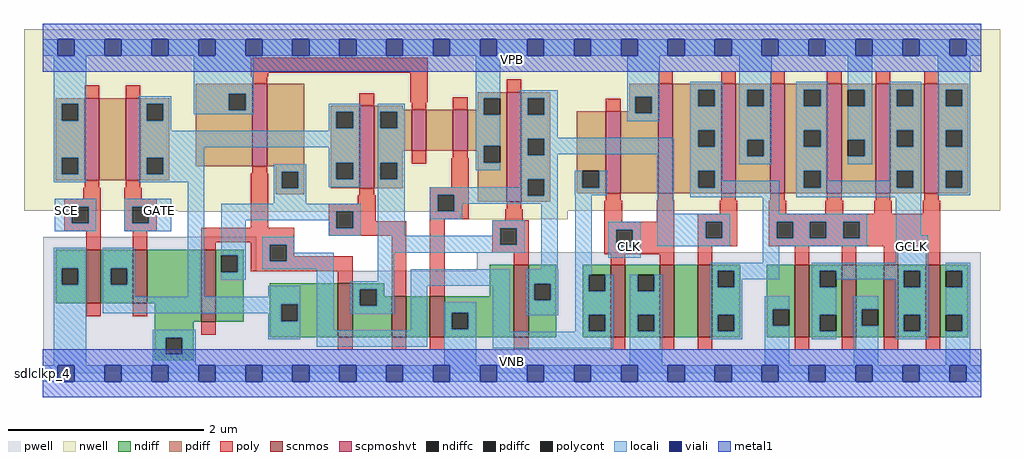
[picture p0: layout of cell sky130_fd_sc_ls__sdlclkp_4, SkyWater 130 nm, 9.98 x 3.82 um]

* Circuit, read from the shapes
.subckt sky130_fd_sc_ls__sdlclkp_4 CLK GATE SCE VGND VNB VPB VPWR GCLK
XM1 n1 SCE VGND VNB sky130_fd_pr__nfet_01v8 w=0.55 l=0.15
XM2 VGND GATE n1 VNB sky130_fd_pr__nfet_01v8 w=0.55 l=0.15
XM3 n2 n3 VGND VNB sky130_fd_pr__nfet_01v8 w=0.74 l=0.15
XM4 n4 n3 n1 VNB sky130_fd_pr__nfet_01v8 w=0.55 l=0.15
XM5 n5 n2 n4 VNB sky130_fd_pr__nfet_01v8 w=0.42 l=0.15
XM6 VGND n6 n5 VNB sky130_fd_pr__nfet_01v8 w=0.42 l=0.15
XM7 n6 n4 VGND VNB sky130_fd_pr__nfet_01v8 w=0.74 l=0.15
XM8 VGND CLK n3 VNB sky130_fd_pr__nfet_01v8 w=0.74 l=0.15
XM9 n7 CLK VGND VNB sky130_fd_pr__nfet_01v8 w=0.74 l=0.15
XM10 n8 n6 n7 VNB sky130_fd_pr__nfet_01v8 w=0.74 l=0.15
XM11 GCLK n8 VGND VNB sky130_fd_pr__nfet_01v8 w=0.74 l=0.15 m=4
XM12 n9 SCE VPWR VPB sky130_fd_pr__pfet_01v8_hvt w=0.84 l=0.15
XM13 n1 GATE n9 VPB sky130_fd_pr__pfet_01v8_hvt w=0.84 l=0.15
XM14 n2 n3 VPWR VPB sky130_fd_pr__pfet_01v8_hvt w=0.84 l=0.15
XM15 n4 n2 n1 VPB sky130_fd_pr__pfet_01v8_hvt w=0.84 l=0.15
XM16 n10 n3 n4 VPB sky130_fd_pr__pfet_01v8_hvt w=0.42 l=0.15
XM17 VPWR n6 n10 VPB sky130_fd_pr__pfet_01v8_hvt w=0.42 l=0.15
XM18 n6 n4 VPWR VPB sky130_fd_pr__pfet_01v8_hvt w=1.12 l=0.15
XM19 VPWR CLK n3 VPB sky130_fd_pr__pfet_01v8_hvt w=0.84 l=0.15
XM20 n8 CLK VPWR VPB sky130_fd_pr__pfet_01v8_hvt w=1.12 l=0.15
XM21 VPWR n6 n8 VPB sky130_fd_pr__pfet_01v8_hvt w=1.12 l=0.15
XM22 GCLK n8 VPWR VPB sky130_fd_pr__pfet_01v8_hvt w=1.12 l=0.15 m=4
.ends

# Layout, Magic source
magic
tech sky130A
magscale 1 2
<< nwell >>
rect -38 332 1958 704
rect 277 330 1074 332
rect 854 315 1074 330
<< pwell >>
rect 1 210 437 279
rect 888 210 1919 248
rect 1 49 1919 210
rect 0 0 1920 49
<< scnmos >>
rect 89 143 119 253
rect 184 143 214 253
rect 324 105 354 253
rect 604 74 634 184
rect 714 74 744 158
rect 792 74 822 158
rect 964 74 994 222
rect 1162 74 1192 222
rect 1262 74 1292 222
rect 1340 74 1370 222
rect 1538 74 1568 222
rect 1634 74 1664 222
rect 1720 74 1750 222
rect 1806 74 1836 222
<< scpmoshvt >>
rect 86 395 116 563
rect 170 395 200 563
rect 429 424 459 592
rect 648 379 678 547
rect 755 455 785 539
rect 839 455 869 539
rect 949 351 979 575
rect 1152 368 1182 536
rect 1259 368 1289 592
rect 1388 368 1418 592
rect 1488 368 1518 592
rect 1604 368 1634 592
rect 1704 368 1734 592
rect 1803 368 1833 592
<< ndiff >>
rect 27 215 89 253
rect 27 181 39 215
rect 73 181 89 215
rect 27 143 89 181
rect 119 215 184 253
rect 119 181 139 215
rect 173 181 184 215
rect 119 143 184 181
rect 214 143 324 253
rect 229 105 324 143
rect 354 241 411 253
rect 354 207 365 241
rect 399 207 411 241
rect 354 105 411 207
rect 465 141 604 184
rect 465 107 488 141
rect 522 107 604 141
rect 229 73 309 105
rect 465 74 604 107
rect 634 172 699 184
rect 634 138 649 172
rect 683 158 699 172
rect 914 158 964 222
rect 683 138 714 158
rect 634 74 714 138
rect 744 74 792 158
rect 822 124 964 158
rect 822 90 837 124
rect 871 90 964 124
rect 822 74 964 90
rect 994 183 1051 222
rect 994 149 1005 183
rect 1039 149 1051 183
rect 994 74 1051 149
rect 1105 202 1162 222
rect 1105 168 1117 202
rect 1151 168 1162 202
rect 1105 120 1162 168
rect 1105 86 1117 120
rect 1151 86 1162 120
rect 1105 74 1162 86
rect 1192 202 1262 222
rect 1192 168 1217 202
rect 1251 168 1262 202
rect 1192 120 1262 168
rect 1192 86 1217 120
rect 1251 86 1262 120
rect 1192 74 1262 86
rect 1292 74 1340 222
rect 1370 210 1427 222
rect 1370 176 1381 210
rect 1415 176 1427 210
rect 1370 120 1427 176
rect 1370 86 1381 120
rect 1415 86 1427 120
rect 1370 74 1427 86
rect 1481 131 1538 222
rect 1481 97 1493 131
rect 1527 97 1538 131
rect 1481 74 1538 97
rect 1568 210 1634 222
rect 1568 176 1589 210
rect 1623 176 1634 210
rect 1568 120 1634 176
rect 1568 86 1589 120
rect 1623 86 1634 120
rect 1568 74 1634 86
rect 1664 131 1720 222
rect 1664 97 1675 131
rect 1709 97 1720 131
rect 1664 74 1720 97
rect 1750 210 1806 222
rect 1750 176 1761 210
rect 1795 176 1806 210
rect 1750 120 1806 176
rect 1750 86 1761 120
rect 1795 86 1806 120
rect 1750 74 1806 86
rect 1836 210 1893 222
rect 1836 176 1847 210
rect 1881 176 1893 210
rect 1836 120 1893 176
rect 1836 86 1847 120
rect 1881 86 1893 120
rect 1836 74 1893 86
rect 229 39 252 73
rect 286 39 309 73
rect 229 27 309 39
<< pdiff >>
rect 313 572 429 592
rect 27 551 86 563
rect 27 517 39 551
rect 73 517 86 551
rect 27 441 86 517
rect 27 407 39 441
rect 73 407 86 441
rect 27 395 86 407
rect 116 395 170 563
rect 200 551 259 563
rect 200 517 213 551
rect 247 517 259 551
rect 200 441 259 517
rect 200 407 213 441
rect 247 407 259 441
rect 313 538 381 572
rect 415 538 429 572
rect 313 424 429 538
rect 459 424 535 592
rect 477 412 535 424
rect 200 395 259 407
rect 477 378 489 412
rect 523 378 535 412
rect 589 535 648 547
rect 589 501 601 535
rect 635 501 648 535
rect 589 431 648 501
rect 589 397 601 431
rect 635 397 648 431
rect 589 379 648 397
rect 678 539 737 547
rect 890 563 949 575
rect 890 539 902 563
rect 678 535 755 539
rect 678 501 691 535
rect 725 501 755 535
rect 678 455 755 501
rect 785 455 839 539
rect 869 529 902 539
rect 936 529 949 563
rect 869 465 949 529
rect 869 455 902 465
rect 678 431 737 455
rect 678 397 691 431
rect 725 397 737 431
rect 678 379 737 397
rect 477 366 535 378
rect 890 431 902 455
rect 936 431 949 465
rect 890 351 949 431
rect 979 563 1038 575
rect 979 529 992 563
rect 1026 529 1038 563
rect 1200 566 1259 592
rect 1200 536 1212 566
rect 979 480 1038 529
rect 979 446 992 480
rect 1026 446 1038 480
rect 979 397 1038 446
rect 979 363 992 397
rect 1026 363 1038 397
rect 1092 414 1152 536
rect 1092 380 1104 414
rect 1138 380 1152 414
rect 1092 368 1152 380
rect 1182 532 1212 536
rect 1246 532 1259 566
rect 1182 368 1259 532
rect 1289 580 1388 592
rect 1289 546 1341 580
rect 1375 546 1388 580
rect 1289 497 1388 546
rect 1289 463 1341 497
rect 1375 463 1388 497
rect 1289 414 1388 463
rect 1289 380 1341 414
rect 1375 380 1388 414
rect 1289 368 1388 380
rect 1418 580 1488 592
rect 1418 546 1441 580
rect 1475 546 1488 580
rect 1418 478 1488 546
rect 1418 444 1441 478
rect 1475 444 1488 478
rect 1418 368 1488 444
rect 1518 580 1604 592
rect 1518 546 1557 580
rect 1591 546 1604 580
rect 1518 497 1604 546
rect 1518 463 1557 497
rect 1591 463 1604 497
rect 1518 414 1604 463
rect 1518 380 1557 414
rect 1591 380 1604 414
rect 1518 368 1604 380
rect 1634 580 1704 592
rect 1634 546 1647 580
rect 1681 546 1704 580
rect 1634 478 1704 546
rect 1634 444 1647 478
rect 1681 444 1704 478
rect 1634 368 1704 444
rect 1734 580 1803 592
rect 1734 546 1747 580
rect 1781 546 1803 580
rect 1734 497 1803 546
rect 1734 463 1747 497
rect 1781 463 1803 497
rect 1734 414 1803 463
rect 1734 380 1747 414
rect 1781 380 1803 414
rect 1734 368 1803 380
rect 1833 580 1893 592
rect 1833 546 1847 580
rect 1881 546 1893 580
rect 1833 497 1893 546
rect 1833 463 1847 497
rect 1881 463 1893 497
rect 1833 414 1893 463
rect 1833 380 1847 414
rect 1881 380 1893 414
rect 1833 368 1893 380
rect 979 351 1038 363
<< ndiffc >>
rect 39 181 73 215
rect 139 181 173 215
rect 365 207 399 241
rect 488 107 522 141
rect 649 138 683 172
rect 837 90 871 124
rect 1005 149 1039 183
rect 1117 168 1151 202
rect 1117 86 1151 120
rect 1217 168 1251 202
rect 1217 86 1251 120
rect 1381 176 1415 210
rect 1381 86 1415 120
rect 1493 97 1527 131
rect 1589 176 1623 210
rect 1589 86 1623 120
rect 1675 97 1709 131
rect 1761 176 1795 210
rect 1761 86 1795 120
rect 1847 176 1881 210
rect 1847 86 1881 120
rect 252 39 286 73
<< pdiffc >>
rect 39 517 73 551
rect 39 407 73 441
rect 213 517 247 551
rect 213 407 247 441
rect 381 538 415 572
rect 489 378 523 412
rect 601 501 635 535
rect 601 397 635 431
rect 691 501 725 535
rect 902 529 936 563
rect 691 397 725 431
rect 902 431 936 465
rect 992 529 1026 563
rect 992 446 1026 480
rect 992 363 1026 397
rect 1104 380 1138 414
rect 1212 532 1246 566
rect 1341 546 1375 580
rect 1341 463 1375 497
rect 1341 380 1375 414
rect 1441 546 1475 580
rect 1441 444 1475 478
rect 1557 546 1591 580
rect 1557 463 1591 497
rect 1557 380 1591 414
rect 1647 546 1681 580
rect 1647 444 1681 478
rect 1747 546 1781 580
rect 1747 463 1781 497
rect 1747 380 1781 414
rect 1847 546 1881 580
rect 1847 463 1881 497
rect 1847 380 1881 414
<< poly >>
rect 426 615 788 645
rect 426 607 462 615
rect 429 592 459 607
rect 86 563 116 589
rect 170 563 200 589
rect 648 547 678 573
rect 752 554 788 615
rect 949 575 979 601
rect 1259 592 1289 618
rect 1388 592 1418 618
rect 1488 592 1518 618
rect 1604 592 1634 618
rect 1704 592 1734 618
rect 1803 592 1833 618
rect 429 409 459 424
rect 86 380 116 395
rect 170 380 200 395
rect 83 357 119 380
rect 44 341 119 357
rect 44 307 60 341
rect 94 307 119 341
rect 44 291 119 307
rect 167 357 203 380
rect 167 341 233 357
rect 167 307 183 341
rect 217 307 233 341
rect 167 291 233 307
rect 426 298 462 409
rect 755 539 785 554
rect 839 539 869 565
rect 755 429 785 455
rect 839 440 869 455
rect 836 381 872 440
rect 648 364 678 379
rect 792 365 872 381
rect 645 347 681 364
rect 585 331 681 347
rect 89 253 119 291
rect 184 253 214 291
rect 324 268 515 298
rect 585 297 601 331
rect 635 311 681 331
rect 792 331 808 365
rect 842 331 872 365
rect 1152 536 1182 562
rect 1152 353 1182 368
rect 1259 353 1289 368
rect 1388 353 1418 368
rect 1488 353 1518 368
rect 1604 353 1634 368
rect 1704 353 1734 368
rect 1803 353 1833 368
rect 949 336 979 351
rect 792 315 872 331
rect 635 297 744 311
rect 585 281 744 297
rect 324 253 354 268
rect 426 263 515 268
rect 89 117 119 143
rect 184 117 214 143
rect 426 229 465 263
rect 499 239 515 263
rect 499 229 634 239
rect 426 209 634 229
rect 604 184 634 209
rect 324 79 354 105
rect 714 158 744 281
rect 792 158 822 315
rect 946 313 982 336
rect 920 297 994 313
rect 920 263 936 297
rect 970 263 994 297
rect 920 247 994 263
rect 964 222 994 247
rect 1149 310 1185 353
rect 1256 310 1292 353
rect 1385 326 1421 353
rect 1149 294 1292 310
rect 1149 260 1173 294
rect 1207 260 1292 294
rect 1149 244 1292 260
rect 1162 222 1192 244
rect 1262 222 1292 244
rect 1340 310 1421 326
rect 1340 276 1356 310
rect 1390 276 1421 310
rect 1340 260 1421 276
rect 1485 326 1521 353
rect 1601 326 1637 353
rect 1701 326 1737 353
rect 1800 326 1836 353
rect 1485 310 1836 326
rect 1485 276 1501 310
rect 1535 276 1569 310
rect 1603 276 1637 310
rect 1671 276 1836 310
rect 1485 260 1836 276
rect 1340 222 1370 260
rect 1538 222 1568 260
rect 1634 222 1664 260
rect 1720 222 1750 260
rect 1806 222 1836 260
rect 604 48 634 74
rect 714 48 744 74
rect 792 48 822 74
rect 964 48 994 74
rect 1162 48 1192 74
rect 1262 48 1292 74
rect 1340 48 1370 74
rect 1538 48 1568 74
rect 1634 48 1664 74
rect 1720 48 1750 74
rect 1806 48 1836 74
<< polycont >>
rect 60 307 94 341
rect 183 307 217 341
rect 601 297 635 331
rect 808 331 842 365
rect 465 229 499 263
rect 936 263 970 297
rect 1173 260 1207 294
rect 1356 276 1390 310
rect 1501 276 1535 310
rect 1569 276 1603 310
rect 1637 276 1671 310
<< locali >>
rect 0 649 31 683
rect 65 649 127 683
rect 161 649 223 683
rect 257 649 319 683
rect 353 649 415 683
rect 449 649 511 683
rect 545 649 607 683
rect 641 649 703 683
rect 737 649 799 683
rect 833 649 895 683
rect 929 649 991 683
rect 1025 649 1087 683
rect 1121 649 1183 683
rect 1217 649 1279 683
rect 1313 649 1375 683
rect 1409 649 1471 683
rect 1505 649 1567 683
rect 1601 649 1663 683
rect 1697 649 1759 683
rect 1793 649 1855 683
rect 1889 649 1920 683
rect 23 551 89 649
rect 309 572 432 649
rect 23 517 39 551
rect 73 517 89 551
rect 23 441 89 517
rect 23 407 39 441
rect 73 407 89 441
rect 23 391 89 407
rect 197 551 263 567
rect 197 517 213 551
rect 247 517 263 551
rect 309 538 381 572
rect 415 538 432 572
rect 886 563 936 649
rect 309 530 432 538
rect 585 535 651 551
rect 197 496 263 517
rect 585 501 601 535
rect 635 501 651 535
rect 585 496 651 501
rect 197 462 651 496
rect 197 441 331 462
rect 197 407 213 441
rect 247 407 331 441
rect 585 431 651 462
rect 197 391 331 407
rect 25 341 110 357
rect 25 307 60 341
rect 94 307 110 341
rect 25 291 110 307
rect 167 341 263 357
rect 167 307 183 341
rect 217 307 263 341
rect 167 291 263 307
rect 23 215 89 257
rect 23 181 39 215
rect 73 181 89 215
rect 23 17 89 181
rect 123 215 189 257
rect 123 181 139 215
rect 173 181 189 215
rect 123 157 189 181
rect 297 157 331 391
rect 473 412 539 428
rect 473 378 489 412
rect 523 378 539 412
rect 585 397 601 431
rect 635 397 651 431
rect 585 381 651 397
rect 685 535 741 551
rect 685 501 691 535
rect 725 501 741 535
rect 685 431 741 501
rect 685 397 691 431
rect 725 397 741 431
rect 886 529 902 563
rect 886 465 936 529
rect 886 431 902 465
rect 886 415 936 431
rect 976 563 1054 579
rect 976 529 992 563
rect 1026 529 1054 563
rect 976 482 1054 529
rect 1196 566 1262 649
rect 1196 532 1212 566
rect 1246 532 1262 566
rect 1196 516 1262 532
rect 1325 580 1391 596
rect 1325 546 1341 580
rect 1375 546 1391 580
rect 1325 497 1391 546
rect 976 480 1291 482
rect 976 446 992 480
rect 1026 448 1291 480
rect 1026 446 1054 448
rect 473 347 539 378
rect 365 331 651 347
rect 365 313 601 331
rect 365 241 415 313
rect 585 297 601 313
rect 635 297 651 331
rect 585 281 651 297
rect 685 281 741 397
rect 976 397 1054 446
rect 976 381 992 397
rect 792 365 992 381
rect 792 331 808 365
rect 842 363 992 365
rect 1026 363 1054 397
rect 1088 380 1104 414
rect 1138 380 1155 414
rect 1088 364 1155 380
rect 842 347 1054 363
rect 842 331 858 347
rect 792 315 858 331
rect 920 297 986 313
rect 920 281 936 297
rect 399 207 415 241
rect 449 263 515 279
rect 449 229 465 263
rect 499 247 515 263
rect 685 263 936 281
rect 970 263 986 297
rect 685 247 986 263
rect 499 229 595 247
rect 449 213 595 229
rect 365 191 415 207
rect 461 157 527 179
rect 123 141 527 157
rect 123 123 488 141
rect 461 107 488 123
rect 522 107 527 141
rect 225 73 313 89
rect 225 39 252 73
rect 286 39 313 73
rect 461 70 527 107
rect 561 88 595 213
rect 685 188 719 247
rect 1020 213 1054 347
rect 629 172 719 188
rect 629 138 649 172
rect 683 138 719 172
rect 629 122 719 138
rect 753 179 955 213
rect 753 88 787 179
rect 561 54 787 88
rect 821 124 887 145
rect 821 90 837 124
rect 871 90 887 124
rect 225 17 313 39
rect 821 17 887 90
rect 921 85 955 179
rect 989 183 1055 213
rect 989 149 1005 183
rect 1039 149 1055 183
rect 989 119 1055 149
rect 1089 202 1123 364
rect 1257 326 1291 448
rect 1325 463 1341 497
rect 1375 463 1391 497
rect 1325 414 1391 463
rect 1425 580 1491 649
rect 1425 546 1441 580
rect 1475 546 1491 580
rect 1425 478 1491 546
rect 1425 444 1441 478
rect 1475 444 1491 478
rect 1425 428 1491 444
rect 1541 580 1607 596
rect 1541 546 1557 580
rect 1591 546 1607 580
rect 1541 497 1607 546
rect 1541 463 1557 497
rect 1591 463 1607 497
rect 1325 380 1341 414
rect 1375 394 1391 414
rect 1541 414 1607 463
rect 1647 580 1697 649
rect 1681 546 1697 580
rect 1647 478 1697 546
rect 1681 444 1697 478
rect 1647 428 1697 444
rect 1731 580 1797 596
rect 1731 546 1747 580
rect 1781 546 1797 580
rect 1731 497 1797 546
rect 1731 463 1747 497
rect 1781 463 1797 497
rect 1375 380 1507 394
rect 1325 360 1507 380
rect 1541 380 1557 414
rect 1591 394 1607 414
rect 1731 414 1797 463
rect 1731 394 1747 414
rect 1591 380 1747 394
rect 1781 380 1797 414
rect 1541 360 1797 380
rect 1831 580 1897 649
rect 1831 546 1847 580
rect 1881 546 1897 580
rect 1831 497 1897 546
rect 1831 463 1847 497
rect 1881 463 1897 497
rect 1831 414 1897 463
rect 1831 380 1847 414
rect 1881 380 1897 414
rect 1831 364 1897 380
rect 1473 326 1507 360
rect 1257 310 1406 326
rect 1157 294 1223 310
rect 1157 260 1173 294
rect 1207 260 1223 294
rect 1257 276 1356 310
rect 1390 276 1406 310
rect 1257 260 1406 276
rect 1473 310 1687 326
rect 1473 276 1501 310
rect 1535 276 1569 310
rect 1603 276 1637 310
rect 1671 276 1687 310
rect 1473 260 1687 276
rect 1745 282 1797 360
rect 1157 236 1223 260
rect 1473 226 1507 260
rect 1745 226 1811 282
rect 1365 210 1507 226
rect 1089 168 1117 202
rect 1151 168 1167 202
rect 1089 120 1167 168
rect 1089 86 1117 120
rect 1151 86 1167 120
rect 1089 85 1167 86
rect 921 51 1167 85
rect 1201 168 1217 202
rect 1251 168 1267 202
rect 1201 120 1267 168
rect 1201 86 1217 120
rect 1251 86 1267 120
rect 1201 17 1267 86
rect 1365 176 1381 210
rect 1415 192 1507 210
rect 1573 210 1811 226
rect 1415 176 1431 192
rect 1365 120 1431 176
rect 1573 176 1589 210
rect 1623 192 1761 210
rect 1365 86 1381 120
rect 1415 86 1431 120
rect 1365 70 1431 86
rect 1477 131 1527 158
rect 1477 97 1493 131
rect 1477 17 1527 97
rect 1573 120 1623 176
rect 1745 176 1761 192
rect 1795 176 1811 210
rect 1573 86 1589 120
rect 1573 70 1623 86
rect 1659 131 1709 158
rect 1659 97 1675 131
rect 1659 17 1709 97
rect 1745 120 1811 176
rect 1745 86 1761 120
rect 1795 86 1811 120
rect 1745 70 1811 86
rect 1847 210 1897 226
rect 1881 176 1897 210
rect 1847 120 1897 176
rect 1881 86 1897 120
rect 1847 17 1897 86
rect 0 -17 31 17
rect 65 -17 127 17
rect 161 -17 223 17
rect 257 -17 319 17
rect 353 -17 415 17
rect 449 -17 511 17
rect 545 -17 607 17
rect 641 -17 703 17
rect 737 -17 799 17
rect 833 -17 895 17
rect 929 -17 991 17
rect 1025 -17 1087 17
rect 1121 -17 1183 17
rect 1217 -17 1279 17
rect 1313 -17 1375 17
rect 1409 -17 1471 17
rect 1505 -17 1567 17
rect 1601 -17 1663 17
rect 1697 -17 1759 17
rect 1793 -17 1855 17
rect 1889 -17 1920 17
<< viali >>
rect 31 649 65 683
rect 127 649 161 683
rect 223 649 257 683
rect 319 649 353 683
rect 415 649 449 683
rect 511 649 545 683
rect 607 649 641 683
rect 703 649 737 683
rect 799 649 833 683
rect 895 649 929 683
rect 991 649 1025 683
rect 1087 649 1121 683
rect 1183 649 1217 683
rect 1279 649 1313 683
rect 1375 649 1409 683
rect 1471 649 1505 683
rect 1567 649 1601 683
rect 1663 649 1697 683
rect 1759 649 1793 683
rect 1855 649 1889 683
rect 31 -17 65 17
rect 127 -17 161 17
rect 223 -17 257 17
rect 319 -17 353 17
rect 415 -17 449 17
rect 511 -17 545 17
rect 607 -17 641 17
rect 703 -17 737 17
rect 799 -17 833 17
rect 895 -17 929 17
rect 991 -17 1025 17
rect 1087 -17 1121 17
rect 1183 -17 1217 17
rect 1279 -17 1313 17
rect 1375 -17 1409 17
rect 1471 -17 1505 17
rect 1567 -17 1601 17
rect 1663 -17 1697 17
rect 1759 -17 1793 17
rect 1855 -17 1889 17
<< metal1 >>
rect 0 683 1920 715
rect 0 649 31 683
rect 65 649 127 683
rect 161 649 223 683
rect 257 649 319 683
rect 353 649 415 683
rect 449 649 511 683
rect 545 649 607 683
rect 641 649 703 683
rect 737 649 799 683
rect 833 649 895 683
rect 929 649 991 683
rect 1025 649 1087 683
rect 1121 649 1183 683
rect 1217 649 1279 683
rect 1313 649 1375 683
rect 1409 649 1471 683
rect 1505 649 1567 683
rect 1601 649 1663 683
rect 1697 649 1759 683
rect 1793 649 1855 683
rect 1889 649 1920 683
rect 0 617 1920 649
rect 0 17 1920 49
rect 0 -17 31 17
rect 65 -17 127 17
rect 161 -17 223 17
rect 257 -17 319 17
rect 353 -17 415 17
rect 449 -17 511 17
rect 545 -17 607 17
rect 641 -17 703 17
rect 737 -17 799 17
rect 833 -17 895 17
rect 929 -17 991 17
rect 1025 -17 1087 17
rect 1121 -17 1183 17
rect 1217 -17 1279 17
rect 1313 -17 1375 17
rect 1409 -17 1471 17
rect 1505 -17 1567 17
rect 1601 -17 1663 17
rect 1697 -17 1759 17
rect 1793 -17 1855 17
rect 1889 -17 1920 17
rect 0 -49 1920 -17
<< labels >>
rlabel comment s 0 0 0 0 4 sdlclkp_4
flabel pwell s 0 0 1920 49 0 FreeSans 200 0 0 0 VNB
port 5 nsew ground bidirectional
flabel nwell s 0 617 1920 666 0 FreeSans 200 0 0 0 VPB
port 6 nsew power bidirectional
flabel metal1 s 0 617 1920 666 0 FreeSans 340 0 0 0 VPWR
port 7 nsew power bidirectional abutment
flabel metal1 s 0 0 1920 49 0 FreeSans 340 0 0 0 VGND
port 4 nsew ground bidirectional abutment
flabel locali s 31 316 65 350 0 FreeSans 340 0 0 0 SCE
port 3 nsew signal input
flabel locali s 223 316 257 350 0 FreeSans 340 0 0 0 GATE
port 2 nsew signal input
flabel locali s 1183 242 1217 276 0 FreeSans 340 0 0 0 CLK
port 1 nsew clock input
flabel locali s 1759 242 1793 276 0 FreeSans 340 0 0 0 GCLK
port 8 nsew signal output
<< properties >>
string LEFsite unit
string LEFclass CORE
string FIXED_BBOX 0 0 1920 666
string GDS_FILE $PDKPATH/libs.ref/sky130_fd_sc_ls/gds/sky130_fd_sc_ls.gds
string LEFsymmetry X Y
string GDS_END 672632
string GDS_START 659272
<< end >>
